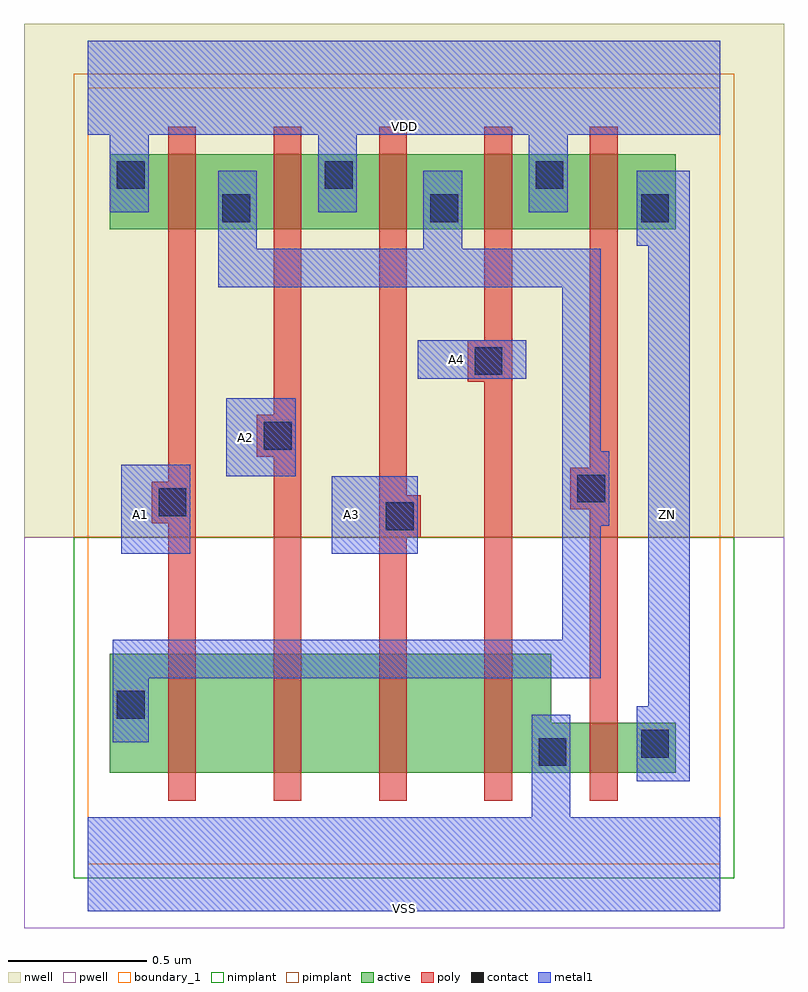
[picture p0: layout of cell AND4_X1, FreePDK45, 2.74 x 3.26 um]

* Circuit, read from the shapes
.subckt AND4_X1 A1 A2 A3 A4 VDD VSS ZN
M1 n1 A1 n2 VSUBS nfet w=0.43u l=0.1u
M2 n3 A2 n1 VSUBS nfet w=0.43u l=0.1u
M3 n4 A3 n3 VSUBS nfet w=0.43u l=0.1u
M4 VSS A4 n4 VSUBS nfet w=0.43u l=0.1u
M5 ZN n2 VSS VSUBS nfet w=0.18u l=0.1u
M6 n2 A1 VDD n5 pfet w=0.27u l=0.1u
M7 VDD A2 n2 n5 pfet w=0.27u l=0.1u
M8 n2 A3 VDD n5 pfet w=0.27u l=0.1u
M9 VDD A4 n2 n5 pfet w=0.27u l=0.1u
M10 ZN n2 VDD n5 pfet w=0.27u l=0.1u
.ends

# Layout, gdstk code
import gdstk
lib = gdstk.Library(unit=1e-6, precision=1e-09)
def R(c, l, rs):  # rectangles x0, y0, x1, y1
    for r in rs: c.add(gdstk.rectangle(r[:2], r[2:], *l))
def P(c, l, *ps):  # polygons
    for p in ps: c.add(gdstk.Polygon(p, *l))
active = (1, 0)
pwell = (2, 0)
nwell = (3, 0)
nimplant = (4, 0)
pimplant = (5, 0)
poly = (9, 0)
contact = (10, 0)
metal1 = (11, 0)
boundary_1 = (235, 1)

and4_x1 = lib.new_cell('AND4_X1')
R(and4_x1, active, [(0.08,2.29,2.12,2.56)])
P(and4_x1, active, [(0.08,0.33),(2.12,0.33),(2.12,0.51),(1.67,0.51),(1.67,0.76),(0.08,0.76)])
R(and4_x1, pwell, [(-0.23,-0.23,2.51,1.18)])
R(and4_x1, nwell, [(-0.23,1.18,2.51,3.03)])
R(and4_x1, nimplant, [(-0.05,-0.05,2.33,1.18)])
R(and4_x1, pimplant, [(-0.05,1.18,2.33,2.85)])
P(and4_x1, poly, [(1.74,1.28),(1.81,1.28),(1.81,0.23),(1.91,0.23),(1.91,2.66),(1.81,2.66),(1.81,1.43),(1.74,1.43)],
  [(1.37,1.74),(1.43,1.74),(1.43,0.23),(1.53,0.23),(1.53,2.66),(1.43,2.66),(1.43,1.89),(1.37,1.89)],
  [(1.05,0.23),(1.15,0.23),(1.15,1.18),(1.2,1.18),(1.2,1.33),(1.15,1.33),(1.15,2.66),(1.05,2.66)],
  [(0.61,1.47),(0.67,1.47),(0.67,0.23),(0.77,0.23),(0.77,2.66),(0.67,2.66),(0.67,1.62),(0.61,1.62)],
  [(0.23,1.23),(0.29,1.23),(0.29,0.23),(0.39,0.23),(0.39,2.66),(0.29,2.66),(0.29,1.38),(0.23,1.38)])
R(and4_x1, contact, [(1.625,0.355,1.725,0.455), (1.995,0.385,2.095,0.485), (0.105,0.525,0.205,0.625), (1.075,1.205,1.175,1.305), (0.255,1.255,0.355,1.355), (1.765,1.305,1.865,1.405), (0.635,1.495,0.735,1.595), (1.395,1.765,1.495,1.865), (0.485,2.315,0.585,2.415), (1.235,2.315,1.335,2.415), (1.995,2.315,2.095,2.415), (0.105,2.435,0.205,2.535), (0.855,2.435,0.955,2.535), (1.615,2.435,1.715,2.535)])
R(and4_x1, metal1, [(0.12,1.12,0.37,1.44), (0.12,1.12,0.37,1.44), (0.88,1.12,1.19,1.4), (0.88,1.12,1.19,1.4), (0.5,1.4,0.75,1.68), (0.5,1.4,0.75,1.68), (1.19,1.75,1.58,1.89), (1.19,1.75,1.58,1.89)])
P(and4_x1, metal1, [(1.98,2.23),(2.02,2.23),(2.02,0.57),(1.98,0.57),(1.98,0.3),(2.17,0.3),(2.17,2.5),(1.98,2.5)],
  [(0,-0.17),(2.28,-0.17),(2.28,0.17),(1.74,0.17),(1.74,0.54),(1.6,0.54),(1.6,0.17),(0,0.17)],
  [(0,2.63),(0.08,2.63),(0.08,2.35),(0.22,2.35),(0.22,2.63),(0.83,2.63),(0.83,2.35),(0.97,2.35),(0.97,2.63),(1.59,2.63),(1.59,2.35),(1.73,2.35),(1.73,2.63),(2.28,2.63),(2.28,2.97),(0,2.97)],
  [(0,2.63),(0.08,2.63),(0.08,2.35),(0.22,2.35),(0.22,2.63),(0.83,2.63),(0.83,2.35),(0.97,2.35),(0.97,2.63),(1.59,2.63),(1.59,2.35),(1.73,2.35),(1.73,2.63),(2.28,2.63),(2.28,2.97),(0,2.97)],
  [(0,-0.17),(2.28,-0.17),(2.28,0.17),(1.74,0.17),(1.74,0.54),(1.6,0.54),(1.6,0.17),(0,0.17)],
  [(1.98,2.23),(2.02,2.23),(2.02,0.57),(1.98,0.57),(1.98,0.3),(2.17,0.3),(2.17,2.5),(1.98,2.5)],
  [(0.47,2.08),(1.71,2.08),(1.71,0.81),(0.09,0.81),(0.09,0.44),(0.22,0.44),(0.22,0.67),(1.85,0.67),(1.85,1.22),(1.88,1.22),(1.88,1.49),(1.85,1.49),(1.85,2.22),(1.35,2.22),(1.35,2.5),(1.21,2.5),(1.21,2.22),(0.61,2.22),(0.61,2.5),(0.47,2.5)])
R(and4_x1, boundary_1, [(0,0,2.28,2.8)])
and4_x1.add(gdstk.Label('ZN', (2.09,1.26), layer=11, texttype=0))
and4_x1.add(gdstk.Label('VSS', (1.14,-0.16), layer=11, texttype=0))
and4_x1.add(gdstk.Label('VDD', (1.14,2.66), layer=11, texttype=0))
and4_x1.add(gdstk.Label('A4', (1.33,1.82), layer=11, texttype=0))
and4_x1.add(gdstk.Label('A3', (0.95,1.26), layer=11, texttype=0))
and4_x1.add(gdstk.Label('A2', (0.57,1.54), layer=11, texttype=0))
and4_x1.add(gdstk.Label('A1', (0.19,1.26), layer=11, texttype=0))

lib.write_gds('AND4_X1.gds')
